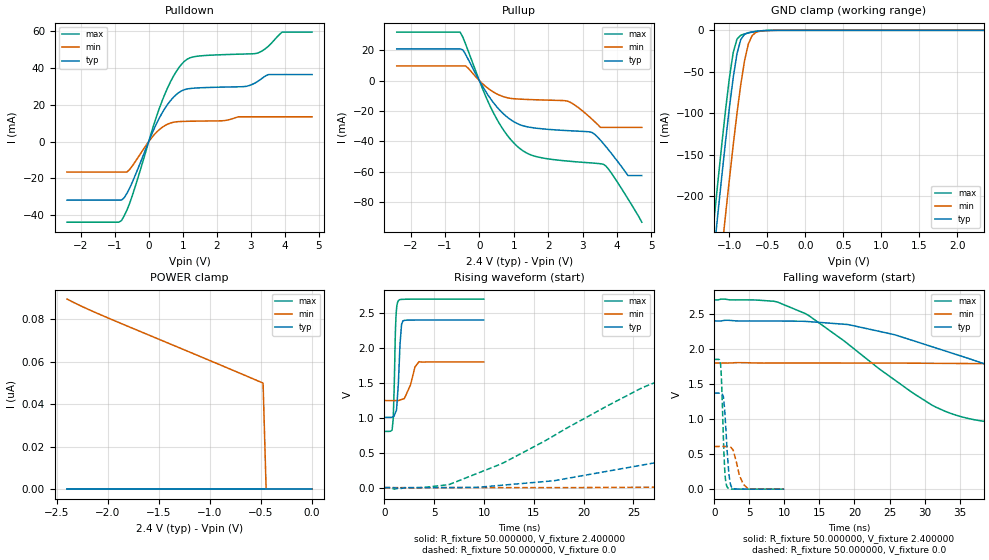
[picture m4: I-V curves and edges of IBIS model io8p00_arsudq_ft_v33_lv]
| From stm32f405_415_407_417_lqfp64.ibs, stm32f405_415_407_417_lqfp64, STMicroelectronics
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|   Model io8p00_arsudq_ft_v33_lv
[Model]  io8p00_arsudq_ft_v33_lv
Model_type I/O
Polarity   Non-Inverting
Enable   Active-Low
Vinl =   0.720000V
Vinh =   1.680000V
Vmeas =  1.200000V
Cref =   50.000000pF
Rref =   100.000000M
Vref =   0.0V
C_comp   2.238700pF   2.180600pF   2.332300pF
[Temperature Range]   25.000000   0.125000k   -40.000000
[Pullup Reference]   2.400000V   1.800000V   2.700000V
[Pulldown Reference]   0.0V   0.0V   0.0V
[POWER Clamp Reference]   2.400000V   1.800000V   2.700000V
[GND Clamp Reference]   0.0V   0.0V   0.0V
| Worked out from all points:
|   slope of the pulldown table from 0 to 0.36 V, typ, clamps not added: 25 ohm
|   slope of the pullup table from 0 to 0.36 V, typ, clamps not added: 27.7 ohm
|   GND clamp passes 1 mA (typ) near -0.62 V on its own axis
|   rising waveform, R_fixture 50.000000, V_fixture 2.400000: 20-80 % time 302ps typ, 741ps min, 198ps max; typ from 1.01 V to 2.4 V
|   rising waveform, R_fixture 50.000000, V_fixture 0.0: 20-80 % time 30.9ns typ, 81.7ns min, 14.6ns max; typ from 0 V to 1.37 V
|   falling waveform, R_fixture 50.000000, V_fixture 2.400000: 20-80 % time 29.6ns typ, 81.3ns min, 15.7ns max; typ from 2.4 V to 1.01 V
|   falling waveform, R_fixture 50.000000, V_fixture 0.0: 20-80 % time 534ps typ, 1.03ns min, 386ps max; typ from 1.37 V to 0 V
[Pulldown]
|Voltage   I(typ)   I(min)   I(max)
-2.4V     -31.73mA   -16.51mA   -43.74mA
-800mV    -31.73mA   -16.51mA   -42.87mA
-480mV    -21.98mA   -13.17mA   -29.21mA
80mV      3.63mA     1.966mA    5.014mA
480mV     18.16mA    8.738mA    26.02mA
800mV     25.38mA    10.72mA    37.77mA
1.12V     28.53mA    11.02mA    44.6mA
2.8V      29.84mA    13.47mA    47.53mA
3.2V      32.64mA    13.47mA    48.05mA
3.52V     36.39mA    13.47mA    51.83mA
3.92V     36.39mA    13.47mA    59.44mA
4.8V      36.39mA    13.47mA    59.44mA
[Pullup]
|Voltage   I(typ)   I(min)   I(max)
-2.4V     20.89mA    9.66mA     31.9mA
-560mV    20.89mA    9.66mA     31.9mA
-400mV    17.28mA    9.66mA     24.07mA
320mV     -11.75mA   -6.207mA   -17.08mA
640mV     -20.52mA   -10.1mA    -30.35mA
960mV     -26.47mA   -11.82mA   -40.02mA
1.52V     -30.88mA   -12.51mA   -49.05mA
2.56V     -32.88mA   -13.48mA   -52.9mA
3.28V     -34.19mA   -25.51mA   -54.18mA
3.6V      -41.31mA   -30.76mA   -54.97mA
4.32V     -62.44mA   -30.76mA   -77.81mA
4.72V     -62.44mA   -30.76mA   -93.1mA
[GND_clamp]
|Voltage   I(typ)   I(min)   I(max)
-2.4V     -1.425A    -1.508A    -1.394A
-1.25V    -311.2mA   -401.9mA   -273.3mA
-1.2V     -265.4mA   -356.1mA   -227.2mA
-1.15V    -220.4mA   -310.8mA   -181.9mA
-1.1V     -176.3mA   -266.2mA   -137.9mA
-1.05V    -133.8mA   -222.5mA   -95.87mA
-950mV    -57.3mA    -138.9mA   -26.98mA
-900mV    -28.27mA   -100.4mA   -10.59mA
-850mV    -11.01mA   -65.54mA   -5.958mA
-750mV    -2.834mA   -16.5mA    -3.178mA
-600mV    -750uA     -1.164mA   -738.3uA
2.35V     0A         0A         0A
[POWER_clamp]
|Voltage   I(typ)   I(min)   I(max)
-2.4V     0A         89.62nA    0A
-2.04V    0A         81.57nA    0A
-480mV    0A         50.01nA    0A
-450mV    0A         0A         0A
0V        0A         0A         0A
[Ramp]
| variable   typ   min   max
dV/dt_r  0.82212/30.90078n   0.36308/83.79692n   1.11108/14.57424n
dV/dt_f  0.83664/29.58666n   0.32682/81.70577n   1.13714/15.64602n
R_load = 50.000000
[Rising Waveform]
R_fixture= 50.000000
V_fixture= 2.400000
V_fixture_min= 1.800000
V_fixture_max= 2.700000
|time   V(typ)   V(min)   V(max)
0s        1.006V     1.247V     804.6mV
780.8ps   1.011V     1.247V     846.8mV
880.9ps   1.016V     1.247V     996.9mV
1.161ns   1.095V     1.247V     2.467V
1.401ns   1.515V     1.246V     2.677V
1.562ns   2.057V     1.254V     2.692V
1.722ns   2.343V     1.263V     2.695V
1.862ns   2.389V     1.27V      2.696V
3.463ns   2.4V       1.803V     2.699V
9.97ns    2.4V       1.8V       2.7V
[Rising Waveform]
R_fixture= 50.000000
V_fixture= 0.0
V_fixture_min= 0.0
V_fixture_max= 0.0
|time   V(typ)   V(min)   V(max)
0s        7.79nV     249.6nV    27.46nV
6.507ns   922.5uV    -67.36uV   44.92mV
17.02ns   98.67mV    89.24uV    744.5mV
28.53ns   390.6mV    7.07mV     1.568V
34.53ns   558.7mV    13.46mV    1.716V
42.54ns   790mV      41mV       1.791V
59.56ns   1.173V     99.52mV    1.839V
79.58ns   1.315V     192.9mV    1.847V
153.2ns   1.368V     510.7mV    1.852V
249.2ns   1.37V      609.1mV    1.852V
[Falling Waveform]
R_fixture= 50.000000
V_fixture= 2.400000
V_fixture_min= 1.800000
V_fixture_max= 2.700000
|time   V(typ)   V(min)   V(max)
0s        2.4V       1.8V       2.7V
8.509ns   2.4V       1.8V       2.681V
13.01ns   2.394V     1.8V       2.505V
19.52ns   2.34V      1.8V       2.036V
31.03ns   2.034V     1.796V     1.201V
42.54ns   1.653V     1.779V     920.4mV
62.56ns   1.211V     1.705V     840.5mV
80.08ns   1.095V     1.608V     818.4mV
157.2ns   1.013V     1.324V     805.3mV
249.2ns   1.006V     1.247V     804.6mV
[Falling Waveform]
R_fixture= 50.000000
V_fixture= 0.0
V_fixture_min= 0.0
V_fixture_max= 0.0
|time   V(typ)   V(min)   V(max)
0s        1.37V      609.1mV    1.852V
900.9ps   1.371V     608.9mV    1.791V
1.101ns   1.367V     608.8mV    1.401V
1.481ns   1.147V     608.5mV    311.3mV
1.862ns   523.4mV    609.4mV    29.43mV
2.242ns   107.2mV    606.6mV    5.162mV
2.643ns   13.51mV    566.2mV    1.813mV
3.584ns   1.155mV    200.8mV    683.7uV
4.805ns   363.1uV    8.575mV    348.1uV
9.97ns    7.79nV     249.6nV    27.46nV
